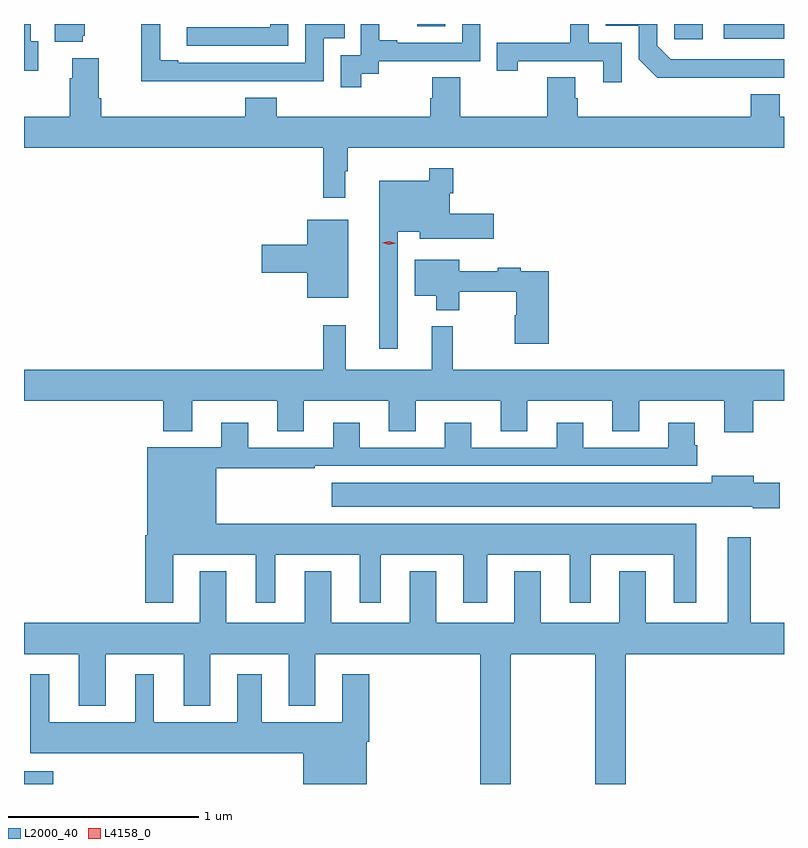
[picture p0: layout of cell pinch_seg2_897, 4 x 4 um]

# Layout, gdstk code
import gdstk
lib = gdstk.Library(unit=1e-6, precision=1e-09)
def R(c, l, rs):  # rectangles x0, y0, x1, y1
    for r in rs: c.add(gdstk.rectangle(r[:2], r[2:], *l))
def P(c, l, *ps):  # polygons
    for p in ps: c.add(gdstk.Polygon(p, *l))
L2000_40 = (2000, 40)
L4158_0 = (4158, 0)

pinch_seg2_897 = lib.new_cell('pinch_seg2_897')
R(pinch_seg2_897, L2000_40, [(441.808,652.28,441.961,652.348), (445.23,656.199,445.381,656.28), (445.491,656.202,445.808,656.28), (443.877,656.268,444.024,656.28)])
P(pinch_seg2_897, L2000_40, [(442.118,656.217),(442.129,656.217),(442.129,656.28),(441.971,656.28),(441.971,656.186),(442.118,656.186)],
  [(443.199,656.28),(443.103,656.28),(443.103,656.262),(442.665,656.262),(442.665,656.166),(443.199,656.166)],
  [(441.883,656.19),(441.843,656.19),(441.843,656.28),(441.808,656.28),(441.808,656.034),(441.883,656.034)],
  [(444.954,656.181),(444.78,656.181),(444.78,656.28),(444.684,656.28),(444.684,656.181),(444.295,656.181),(444.295,656.034),(444.406,656.034),(444.406,656.085),(444.857,656.085),(444.857,655.974),(444.954,655.974)],
  [(445.55,655.998),(445.808,655.998),(445.808,656.094),(445.212,656.094),(445.14,656.166),(445.14,656.28),(444.87,656.28),(444.87,656.271),(445.044,656.271),(445.044,656.094),(445.142,655.997),(445.55,655.997)],
  [(443.584,656.017),(443.676,656.017),(443.676,656.085),(444.21,656.085),(444.21,656.28),(444.114,656.28),(444.114,656.181),(443.773,656.181),(443.773,656.194),(443.678,656.194),(443.678,656.28),(443.58,656.28),(443.58,656.115),(443.475,656.115),(443.475,655.947),(443.584,655.947)],
  [(442.889,655.98),(443.385,655.98),(443.385,656.205),(443.495,656.205),(443.495,656.28),(443.289,656.28),(443.289,656.076),(442.621,656.076),(442.621,656.089),(442.524,656.089),(442.524,656.28),(442.426,656.28),(442.426,655.979),(442.889,655.979)],
  [(443.5,655.505),(443.512,655.505),(443.512,655.628),(445.808,655.628),(445.808,655.792),(445.786,655.792),(445.786,655.909),(445.634,655.909),(445.634,655.792),(444.722,655.792),(444.722,655.89),(444.709,655.89),(444.709,656),(444.562,656),(444.562,655.792),(444.105,655.792),(444.105,656),(443.957,656),(443.957,655.89),(443.945,655.89),(443.945,655.792),(443.138,655.792),(443.138,655.891),(442.973,655.891),(442.973,655.792),(442.214,655.792),(442.214,655.888),(442.201,655.888),(442.201,656.101),(442.061,656.101),(442.061,655.994),(442.049,655.994),(442.049,655.792),(441.808,655.792),(441.808,655.628),(443.383,655.628),(443.383,655.365),(443.5,655.365)],
  [(443.775,655.187),(443.891,655.187),(443.891,655.151),(444.28,655.151),(444.28,655.281),(444.049,655.281),(444.049,655.389),(444.068,655.389),(444.068,655.522),(443.94,655.522),(443.94,655.456),(443.678,655.456),(443.678,654.57),(443.775,654.57)],
  [(443.515,655.249),(443.3,655.249),(443.3,655.118),(443.058,655.118),(443.058,654.971),(443.3,654.971),(443.3,654.839),(443.515,654.839)],
  [(444.569,654.978),(444.422,654.978),(444.422,654.998),(444.302,654.998),(444.302,654.979),(444.1,654.979),(444.1,655.039),(443.864,655.039),(443.864,654.851),(443.978,654.851),(443.978,654.773),(444.1,654.773),(444.1,654.87),(444.398,654.87),(444.398,654.747),(444.391,654.747),(444.391,654.597),(444.569,654.597)],
  [(445.646,654.296),(445.808,654.296),(445.808,654.46),(444.064,654.46),(444.064,654.688),(443.954,654.688),(443.954,654.46),(443.501,654.46),(443.501,654.694),(443.383,654.694),(443.383,654.46),(441.808,654.46),(441.808,654.296),(442.541,654.296),(442.541,654.137),(442.693,654.137),(442.693,654.296),(443.141,654.296),(443.141,654.136),(443.281,654.136),(443.281,654.296),(443.729,654.296),(443.729,654.136),(443.869,654.136),(443.869,654.296),(444.317,654.296),(444.317,654.136),(444.457,654.136),(444.457,654.296),(444.905,654.296),(444.905,654.136),(445.045,654.136),(445.045,654.296),(445.493,654.296),(445.493,654.132),(445.646,654.132)],
  [(442.594,653.486),(443.027,653.486),(443.027,653.235),(443.131,653.235),(443.131,653.486),(443.576,653.486),(443.576,653.235),(443.686,653.235),(443.686,653.486),(444.119,653.486),(444.119,653.235),(444.247,653.235),(444.247,653.486),(444.68,653.486),(444.68,653.235),(444.79,653.235),(444.79,653.486),(445.229,653.486),(445.229,653.235),(445.345,653.235),(445.345,653.65),(442.819,653.65),(442.819,653.943),(443.339,653.943),(443.339,653.955),(445.352,653.955),(445.352,654.063),(445.339,654.063),(445.339,654.181),(445.199,654.181),(445.199,654.051),(444.751,654.051),(444.751,654.181),(444.611,654.181),(444.611,654.051),(444.163,654.051),(444.163,654.181),(444.023,654.181),(444.023,654.051),(443.575,654.051),(443.575,654.181),(443.435,654.181),(443.435,654.051),(442.987,654.051),(442.987,654.181),(442.847,654.181),(442.847,654.052),(442.457,654.052),(442.457,653.59),(442.445,653.59),(442.445,653.235),(442.594,653.235)],
  [(445.786,653.866),(445.648,653.866),(445.648,653.902),(445.427,653.902),(445.427,653.866),(443.427,653.866),(443.427,653.738),(445.644,653.738),(445.644,653.732),(445.786,653.732)],
  [(444.369,652.964),(444.814,652.964),(444.814,652.28),(444.974,652.28),(444.974,652.964),(445.808,652.964),(445.808,653.128),(445.633,653.128),(445.633,653.578),(445.511,653.578),(445.511,653.128),(445.081,653.128),(445.081,653.401),(444.941,653.401),(444.941,653.128),(444.529,653.128),(444.529,653.401),(444.389,653.401),(444.389,653.128),(443.977,653.128),(443.977,653.401),(443.837,653.401),(443.837,653.128),(443.425,653.128),(443.425,653.401),(443.285,653.401),(443.285,653.128),(442.873,653.128),(442.873,653.401),(442.733,653.401),(442.733,653.128),(441.808,653.128),(441.808,652.964),(442.097,652.964),(442.097,652.691),(442.237,652.691),(442.237,652.964),(442.649,652.964),(442.649,652.691),(442.789,652.691),(442.789,652.964),(443.201,652.964),(443.201,652.691),(443.341,652.691),(443.341,652.964),(444.209,652.964),(444.209,652.28),(444.369,652.28)],
  [(443.611,652.502),(443.624,652.502),(443.624,652.858),(443.483,652.858),(443.483,652.606),(443.059,652.606),(443.059,652.858),(442.931,652.858),(442.931,652.606),(442.492,652.606),(442.492,652.858),(442.394,652.858),(442.394,652.606),(441.94,652.606),(441.94,652.858),(441.842,652.858),(441.842,652.442),(443.279,652.442),(443.279,652.28),(443.611,652.28)])
P(pinch_seg2_897, L4158_0, [(443.729,655.117),(443.694,655.128),(443.694,655.129),(443.694,655.129),(443.73,655.137),(443.765,655.126),(443.765,655.125),(443.765,655.125)])

lib.write_gds('pinch_seg2_897.gds')
